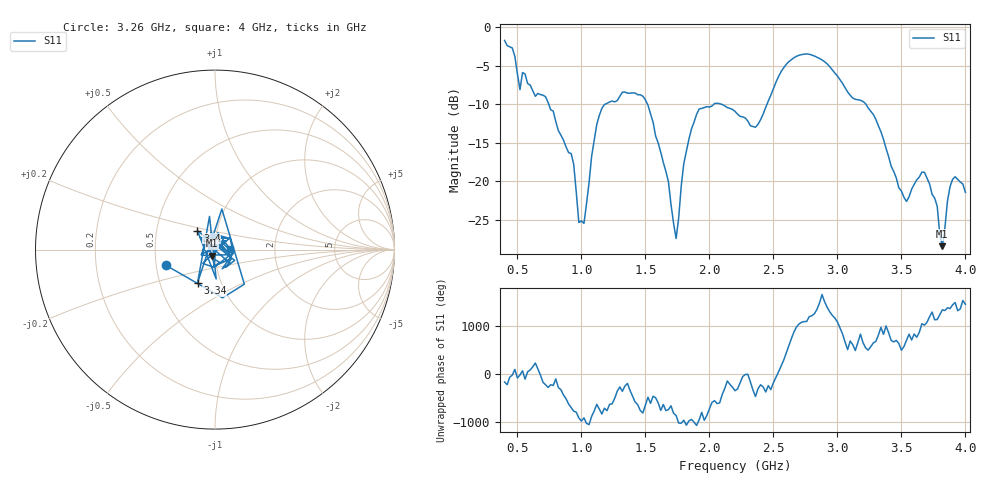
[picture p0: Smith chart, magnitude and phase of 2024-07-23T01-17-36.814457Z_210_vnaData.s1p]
!Created with skrf (http://scikit-rf.org).
# Hz S RI R 50.0
!freq ReS11 ImS11
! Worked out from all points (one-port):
!   181 points, 400 MHz to 4 GHz, reference 50 ohm
!   lowest |S11| = -28.5 dB at 3.82 GHz (marker M1), VSWR 1.08, Z = 48.4 - j3.34 ohm
!   |S11| at or under -10 dB: 744.9 MHz to 1.184 GHz (439.2 MHz wide, 45.5 % of centre); 1.517 GHz to 2.034 GHz (517.2 MHz wide, 29.1 % of centre); 3.223 GHz to end of sweep (the widest 3 of 4)
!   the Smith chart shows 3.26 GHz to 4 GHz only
!   S11 on the Smith chart (normalised r, x): 3.26 GHz: 0.57, -0.11; 3.34 GHz: 0.77, -0.30; 3.4 GHz: 0.80, +0.17; 4 GHz: 1.18, +0.01
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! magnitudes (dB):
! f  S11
! 400 MHz  -1.7
! 520 MHz  -8.1
! 720 MHz  -9.0
! 860 MHz  -14.7
! 940 MHz  -17.8
! 980 MHz  -25.4
! 1.02 GHz  -25.5
! 1.14 GHz  -11.4
! 1.3 GHz  -9.0
! 1.52 GHz  -10.1
! 1.68 GHz  -20.1
! 1.74 GHz  -27.5
! 1.76 GHz  -24.8
! 1.8 GHz  -17.7
! 1.92 GHz  -10.6
! 2.2 GHz  -10.9
! 2.36 GHz  -13.0
! 2.66 GHz  -3.9
! 3.1 GHz  -8.8
! 3.26 GHz  -10.9
! 3.34 GHz  -13.6
! 3.4 GHz  -16.8
! 3.56 GHz  -22.0
! 3.68 GHz  -18.9
! 3.78 GHz  -23.3
! 3.82 GHz  -28.5
! 3.9 GHz  -19.8
! 4 GHz  -21.5
